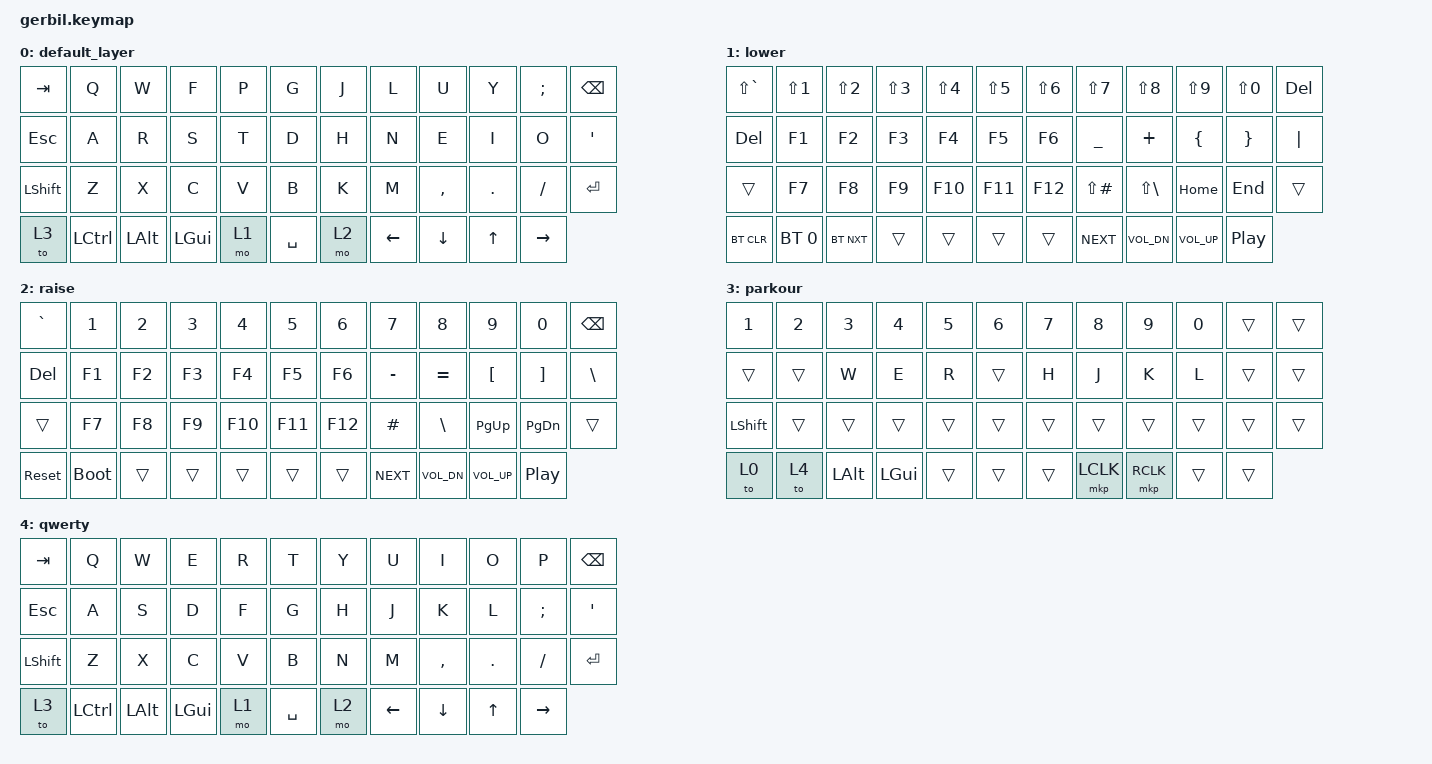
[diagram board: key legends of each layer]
#include <dt-bindings/zmk/mouse.h>
#include <behaviors.dtsi>
#include <dt-bindings/zmk/keys.h>
#include <dt-bindings/zmk/bt.h>
/ {
    keymap {
        compatible = "zmk,keymap";

        default_layer {
            bindings = <
                &kp TAB    &kp Q      &kp W     &kp F     &kp P  &kp G      &kp J  &kp L     &kp U      &kp Y    &kp SEMI   &kp BSPC
                &kp ESC    &kp A      &kp R     &kp S     &kp T  &kp D      &kp H  &kp N     &kp E      &kp I    &kp O      &kp SQT
                &kp LSHFT  &kp Z      &kp X     &kp C     &kp V  &kp B      &kp K  &kp M     &kp COMMA  &kp DOT  &kp SLASH  &kp RET
                &to 3      &kp LCTRL  &kp LALT  &kp LGUI  &mo 1  &kp SPACE  &mo 2  &kp LEFT  &kp DOWN   &kp UP   &kp RIGHT
                >;
        };

        lower {
            bindings = <
                &kp LS(GRAVE)  &kp LS(N1)  &kp LS(N2)  &kp LS(N3)  &kp LS(N4)  &kp LS(N5)  &kp LS(N6)  &kp LS(N7)    &kp LS(N8)    &kp LS(N9)    &kp LS(N0)  &kp DEL
                &kp DEL        &kp F1      &kp F2      &kp F3      &kp F4      &kp F5      &kp F6      &kp UNDER     &kp PLUS      &kp LBRC      &kp RBRC    &kp PIPE
                &trans         &kp F7      &kp F8      &kp F9      &kp F10     &kp F11     &kp F12     &kp LS(HASH)  &kp LS(BSLH)  &kp HOME      &kp END     &trans
                &bt BT_CLR     &bt BT_SEL 0  &bt BT_NXT      &trans      &trans      &trans      &trans      &kp C_NEXT    &kp C_VOL_DN  &kp C_VOL_UP  &kp C_PP
                >;
        };

        raise {
            bindings = <
                &kp GRAVE   &kp N1       &kp N2  &kp N3  &kp N4   &kp N5   &kp N6   &kp N7      &kp N8        &kp N9        &kp N0     &kp BSPC
                &kp DEL     &kp F1       &kp F2  &kp F3  &kp F4   &kp F5   &kp F6   &kp MINUS   &kp EQUAL     &kp LBKT      &kp RBKT   &kp BSLH
                &trans      &kp F7       &kp F8  &kp F9  &kp F10  &kp F11  &kp F12  &kp HASH    &kp BSLH      &kp PG_UP     &kp PG_DN  &trans
                &sys_reset  &bootloader  &trans  &trans  &trans   &trans   &trans   &kp C_NEXT  &kp C_VOL_DN  &kp C_VOL_UP  &kp C_PP
                >;
        };

        parkour {
            bindings = <
                &kp N1     &kp N2  &kp N3        &kp N4    &kp N5  &kp N6  &kp N7  &kp N8     &kp N9     &kp N0  &trans  &trans
                &trans     &trans  &kp W         &kp E     &kp R   &trans  &kp H   &kp J      &kp K      &kp L   &trans  &trans
                &kp LSHFT  &trans  &trans        &trans    &trans  &trans  &trans  &trans     &trans     &trans  &trans  &trans
                &to 0      &to 4   &kp LEFT_ALT  &kp LGUI  &trans  &trans  &trans  &mkp LCLK  &mkp RCLK  &trans  &trans
                >;
        };

        qwerty {
            bindings = <
                &kp TAB    &kp Q      &kp W     &kp E     &kp R  &kp T      &kp Y  &kp U     &kp I      &kp O    &kp P      &kp BSPC
                &kp ESC    &kp A      &kp S     &kp D     &kp F  &kp G      &kp H  &kp J     &kp K      &kp L    &kp SEMI   &kp APOS
                &kp LSHFT  &kp Z      &kp X     &kp C     &kp V  &kp B      &kp N  &kp M     &kp COMMA  &kp DOT  &kp SLASH  &kp RET
                &to 3      &kp LCTRL  &kp LALT  &kp LGUI  &mo 1  &kp SPACE  &mo 2  &kp LEFT  &kp DOWN   &kp UP   &kp RIGHT
                >;
        };
    };
};
